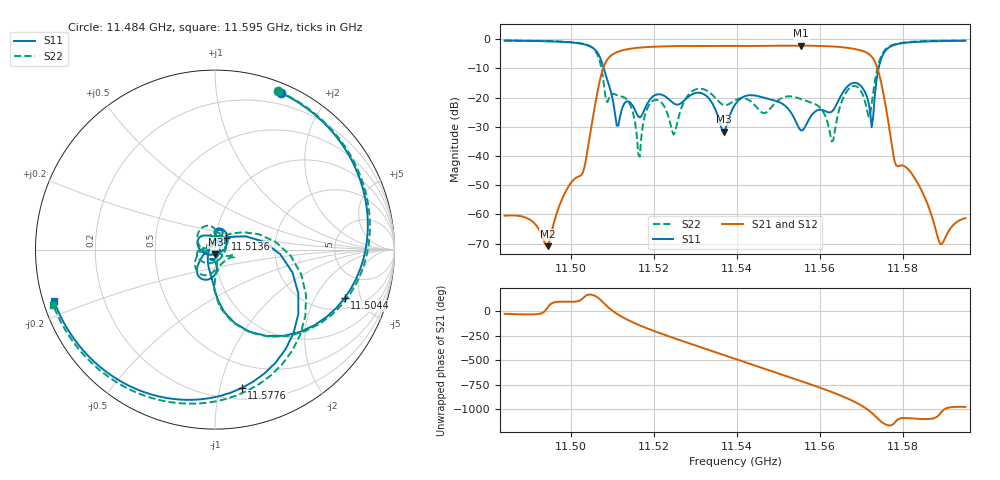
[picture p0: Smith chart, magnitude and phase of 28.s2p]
! Created with skrf 1.8.0 (http://scikit-rf.org).
# Hz S RI R 50.0
!freq ReS11 ImS11 ReS21 ImS21 ReS12 ImS12 ReS22 ImS22
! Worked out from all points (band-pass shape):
!   301 points, 11.484 GHz to 11.595 GHz, reference 50 ohm
!   highest |S21| = -2.19 dB at 11.5554 GHz (marker M1); lowest = -70.9 dB at 11.4944 GHz (marker M2)
!   |S21| within 3 dB of the highest: 11.5101 GHz to 11.5718 GHz (61.79 MHz wide, 0.535 % of centre)
!   lowest |S11| = -31.6 dB at 11.5369 GHz (marker M3), VSWR 1.05, Z = 50.2 - j2.62 ohm
!   |S11| at or under -10 dB: 11.5079 GHz to 11.5741 GHz (66.21 MHz wide, 0.574 % of centre)
!   |S22| runs from -40.2 to -0.4 dB; largest |S21 - S12| = 0.01
!   S11 on the Smith chart (normalised r, x): 11.484 GHz: 0.09, +1.50; 11.5044 GHz: 2.70, -3.60; 11.5136 GHz: 1.12, +0.14; 11.5776 GHz: 0.29, -1.17; 11.595 GHz: 0.03, -0.16
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1.1484e10  0.3663 0.8726  0.000859 -0.000396  0.000853 -0.000372  0.3522 0.883
1.149436e10  0.6769 0.6281  0.000221 0.00018  0.000215 0.000186  0.6774 0.6364
1.15025e10  0.8374 -0.00754  -0.00248 0.00403  -0.00255 0.00404  0.8461 -0.0265
1.150435e10  0.7223 -0.2699  -0.0184 0.00255  -0.0187 0.00249  0.7088 -0.3047
1.151101e10  -0.0333 -0.00126  0.55 -0.2359  0.5508 -0.2392  0.1046 -0.0357
1.15136e10  0.0604 0.0619  0.0594 -0.672  0.0554 -0.6736  0.0834 -0.0344
1.151656e10  0.023 0.0395  -0.5691 -0.4407  -0.5711 -0.4353  0.00417 0.00879
1.1521e10  0.0295 0.1101  -0.6105 0.4333  -0.6073 0.4343  0.064 0.0635
1.15247e10  0.0281 0.075  0.0119 0.7627  0.0184 0.7616  0.00463 -0.0228
1.152988e10  0.0187 0.1179  0.7401 0.1897  0.7336 0.1827  -0.0869 0.1056
1.153691e10  0.00261 -0.026  0.0462 -0.7674  0.0443 -0.7642  -0.00902 0.0737
1.15395e10  -0.075 -0.00914  -0.4294 -0.6349  -0.4294 -0.6302  -0.0212 0.0872
1.154875e10  -0.0442 0.0789  -0.1793 0.7513  -0.1717 0.7517  -0.0159 -0.0732
1.155541e10  0.0273 0.000655  0.7672 0.124  0.76 0.1199  -0.094 -0.00727
1.1558e10  0.000424 -0.0503  0.6808 -0.3673  0.6758 -0.3661  -0.0816 -0.000464
1.156281e10  -0.0105 -0.0565  -0.1542 -0.7374  -0.1558 -0.7332  -0.0151 -0.00932
1.156688e10  -0.023 -0.1605  -0.7024 -0.0835  -0.7012 -0.0817  -0.0288 -0.1374
1.157243e10  -0.0276 0.0142  0.3518 0.3589  0.3498 0.3581  0.0364 0.0716
1.15765e10  0.3372 -0.63  0.00474 -0.0355  0.00473 -0.0361  0.3744 -0.6385
1.157761e10  0.1489 -0.7713  0.00363 -0.0102  0.00358 -0.0104  0.1843 -0.7845
1.158908e10  -0.7848 -0.4983  0.000211 0.000222  0.000215 0.000215  -0.7831 -0.5232
1.1595e10  -0.8969 -0.2865  -0.000251 0.000825  -0.000229 0.000823  -0.901 -0.3099
